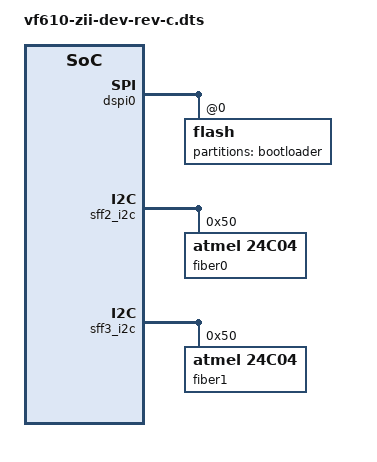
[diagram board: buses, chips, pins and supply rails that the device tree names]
// SPDX-License-Identifier: (GPL-2.0+ OR MIT)

/*
 * Copyright (C) 2015, 2016 Zodiac Inflight Innovations
 */

#include <arm/nxp/vf/vf610-zii-dev-rev-c.dts>

#include "vf610-zii-dev.dtsi"

/ {
	barebox,disable-deep-probe;

	aliases {
		/*
		 * NVMEM device corresponding to EEPROM attached to
                 * the switch shared DT node with it, so we use that
                 * fact to create a desirable naming
		 */
		switch0-eeprom = &switch0;
		switch1-eeprom = &switch1;
		fiber-eeprom0 = &fiber_eeprom0;
		fiber-eeprom1 = &fiber_eeprom1;
	};
};

&dspi0 {
	flash@0 {
		#address-cells = <1>;
		#size-cells = <0>;

		partition@0 {
			label = "bootloader";
			reg = <0x0 0x100000>;
		};
	};
};

&sff2_i2c {
       fiber_eeprom0: eeprom@50 {
               compatible = "atmel,24c04";
               reg = <0x50>;
               label = "fiber0";
       };
};

&sff3_i2c {
       fiber_eeprom1: eeprom@50 {
               compatible = "atmel,24c04";
               reg = <0x50>;
               label = "fiber1";
       };
};
